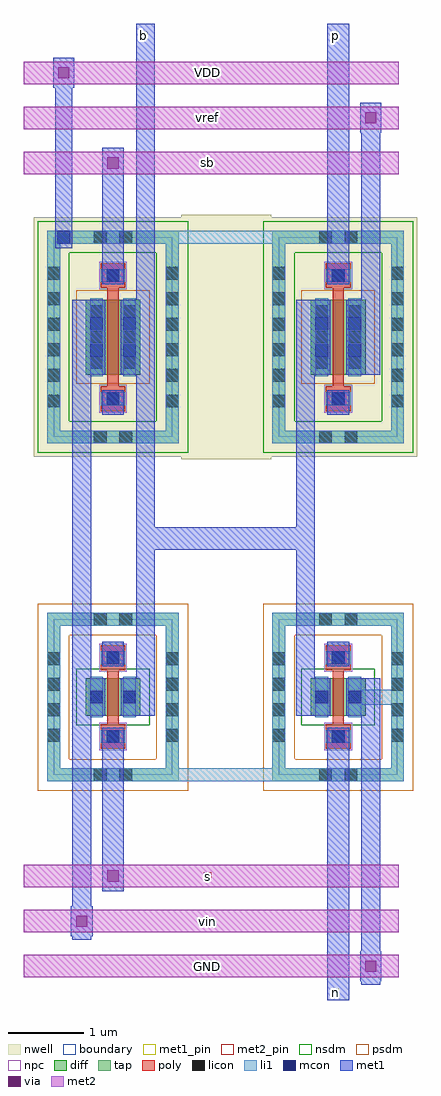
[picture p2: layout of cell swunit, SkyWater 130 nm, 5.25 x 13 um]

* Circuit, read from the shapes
.subckt swunit GND VDD b n p s sb vin vref
XM1 b s vin GND sky130_fd_pr__nfet_01v8 w=0.5 l=0.15
XM2 GND n b GND sky130_fd_pr__nfet_01v8 w=0.5 l=0.15
XM3 b sb vin VDD sky130_fd_pr__pfet_01v8 w=1 l=0.15
XM4 vref p b VDD sky130_fd_pr__pfet_01v8 w=1 l=0.15
.ends

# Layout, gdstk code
import gdstk
lib = gdstk.Library(unit=1e-6, precision=1e-09)
def R(c, l, rs):  # rectangles x0, y0, x1, y1
    for r in rs: c.add(gdstk.rectangle(r[:2], r[2:], *l))
def A(c, l, x, y, w, h, nx, ny, dx, dy):  # array of equal rectangles
    R(c, l, [(x+i*dx, y+j*dy, x+i*dx+w, y+j*dy+h) for i in range(nx) for j in range(ny)])
nwell = (64, 20)
diff = (65, 20)
tap = (65, 44)
poly = (66, 20)
licon = (66, 44)
li1 = (67, 20)
mcon = (67, 44)
met1_pin = (68, 16)
met1 = (68, 20)
via = (68, 44)
met2_pin = (69, 16)
met2 = (69, 20)
nsdm = (93, 44)
psdm = (94, 20)
npc = (95, 20)
boundary = (235, 4)

sky130_fd_pr__pfet_01v8_ = lib.new_cell('sky130_fd_pr__pfet_01v8_7HN6Y2')
R(sky130_fd_pr__pfet_01v8_, nwell, [(-1.055,-1.595,1.055,1.595)])
R(sky130_fd_pr__pfet_01v8_, diff, [(-0.365,-0.5,0.365,0.5)])
R(sky130_fd_pr__pfet_01v8_, tap, [(-0.875,-1.415,0.875,-1.245), (-0.875,-1.245,-0.705,1.245), (0.705,-1.245,0.875,1.245), (-0.875,1.245,0.875,1.415)])
R(sky130_fd_pr__pfet_01v8_, poly, [(-0.165,-0.985,0.165,-0.655), (-0.075,-0.655,0.075,0.655), (-0.165,0.655,0.165,0.985)])
A(sky130_fd_pr__pfet_01v8_, licon, -0.875, -0.935, 0.17, 0.17, 1, 6, 0, 0.34)
A(sky130_fd_pr__pfet_01v8_, licon, 0.705, -0.935, 0.17, 0.17, 1, 6, 0, 0.34)
A(sky130_fd_pr__pfet_01v8_, licon, -0.305, -0.425, 0.17, 0.17, 1, 3, 0, 0.34)
A(sky130_fd_pr__pfet_01v8_, licon, 0.135, -0.425, 0.17, 0.17, 1, 3, 0, 0.34)
R(sky130_fd_pr__pfet_01v8_, licon, [(-0.255,-1.415,-0.085,-1.245), (0.085,-1.415,0.255,-1.245), (-0.085,-0.905,0.085,-0.735), (-0.085,0.735,0.085,0.905), (-0.255,1.245,-0.085,1.415), (0.085,1.245,0.255,1.415)])
R(sky130_fd_pr__pfet_01v8_, li1, [(-0.875,-1.415,0.875,-1.245), (-0.875,-1.245,-0.705,1.245), (0.705,-1.245,0.875,1.245), (-0.165,-0.905,0.165,-0.735), (-0.305,-0.52,-0.135,0.52), (0.135,-0.52,0.305,0.52), (-0.165,0.735,0.165,0.905), (-0.875,1.245,0.875,1.415)])
R(sky130_fd_pr__pfet_01v8_, mcon, [(-0.085,-0.905,0.085,-0.735), (-0.305,-0.265,-0.135,-0.095), (0.135,-0.265,0.305,-0.095), (-0.305,0.095,-0.135,0.265), (0.135,0.095,0.305,0.265), (-0.085,0.735,0.085,0.905)])
R(sky130_fd_pr__pfet_01v8_, met1, [(-0.145,-0.935,0.145,-0.705), (-0.335,-0.5,-0.105,0.5), (0.105,-0.5,0.335,0.5), (-0.145,0.705,0.145,0.935)])
R(sky130_fd_pr__pfet_01v8_, nsdm, [(-1,-1.54,1,-1.12), (-1,-1.12,-0.58,1.12), (0.58,-1.12,1,1.12), (-1,1.12,1,1.54)])
R(sky130_fd_pr__pfet_01v8_, psdm, [(-0.49,-0.625,0.49,0.625)])
R(sky130_fd_pr__pfet_01v8_, npc, [(-0.185,-1.005,0.185,-0.635), (-0.185,0.635,0.185,1.005)])
R(sky130_fd_pr__pfet_01v8_, boundary, [(-0.79,-1.33,0.79,1.33)])
sky130_fd_pr__pfet_01v8_.add(gdstk.Label('B', (0,-1.33), layer=67, texttype=5))
sky130_fd_pr__pfet_01v8_.add(gdstk.Label('D', (-0.22,0), layer=67, texttype=5))
sky130_fd_pr__pfet_01v8_.add(gdstk.Label('S', (0.22,0), layer=67, texttype=5))
sky130_fd_pr__pfet_01v8_.add(gdstk.Label('G', (0,0.82), layer=67, texttype=5))

sky130_fd_pr__nfet_01v8_ = lib.new_cell('sky130_fd_pr__nfet_01v8_PHAC7Z')
R(sky130_fd_pr__nfet_01v8_, diff, [(-0.365,-0.25,0.365,0.25)])
R(sky130_fd_pr__nfet_01v8_, tap, [(-0.875,-1.12,0.875,-0.95), (-0.875,-0.95,-0.705,0.95), (0.705,-0.95,0.875,0.95), (-0.875,0.95,0.875,1.12)])
R(sky130_fd_pr__nfet_01v8_, poly, [(-0.165,-0.69,0.165,-0.36), (-0.075,-0.36,0.075,0.36), (-0.165,0.36,0.165,0.69)])
A(sky130_fd_pr__nfet_01v8_, licon, -0.875, -0.595, 0.17, 0.17, 1, 4, 0, 0.34)
A(sky130_fd_pr__nfet_01v8_, licon, 0.705, -0.595, 0.17, 0.17, 1, 4, 0, 0.34)
R(sky130_fd_pr__nfet_01v8_, licon, [(-0.255,-1.12,-0.085,-0.95), (0.085,-1.12,0.255,-0.95), (-0.085,-0.61,0.085,-0.44), (-0.305,-0.085,-0.135,0.085), (0.135,-0.085,0.305,0.085), (-0.085,0.44,0.085,0.61), (-0.255,0.95,-0.085,1.12), (0.085,0.95,0.255,1.12)])
R(sky130_fd_pr__nfet_01v8_, li1, [(-0.875,-1.12,0.875,-0.95), (-0.875,-0.95,-0.705,0.95), (0.705,-0.95,0.875,0.95), (-0.165,-0.61,0.165,-0.44), (-0.305,-0.27,-0.135,0.27), (0.135,-0.27,0.305,0.27), (-0.165,0.44,0.165,0.61), (-0.875,0.95,0.875,1.12)])
R(sky130_fd_pr__nfet_01v8_, mcon, [(-0.085,-0.61,0.085,-0.44), (-0.305,-0.085,-0.135,0.085), (0.135,-0.085,0.305,0.085), (-0.085,0.44,0.085,0.61)])
R(sky130_fd_pr__nfet_01v8_, met1, [(-0.145,-0.64,0.145,-0.41), (-0.335,-0.25,-0.105,0.25), (0.105,-0.25,0.335,0.25), (-0.145,0.41,0.145,0.64)])
R(sky130_fd_pr__nfet_01v8_, nsdm, [(-0.49,-0.375,0.49,0.375)])
R(sky130_fd_pr__nfet_01v8_, psdm, [(-1,-1.245,1,-0.825), (-1,-0.825,-0.58,0.825), (0.58,-0.825,1,0.825), (-1,0.825,1,1.245)])
R(sky130_fd_pr__nfet_01v8_, npc, [(-0.185,-0.71,0.185,-0.34), (-0.185,0.34,0.185,0.71)])
R(sky130_fd_pr__nfet_01v8_, boundary, [(-0.79,-1.035,0.79,1.035)])
sky130_fd_pr__nfet_01v8_.add(gdstk.Label('B', (0,-1.035), layer=67, texttype=5))
sky130_fd_pr__nfet_01v8_.add(gdstk.Label('D', (-0.22,0), layer=67, texttype=5))
sky130_fd_pr__nfet_01v8_.add(gdstk.Label('S', (0.22,0), layer=67, texttype=5))
sky130_fd_pr__nfet_01v8_.add(gdstk.Label('G', (0,0.525), layer=67, texttype=5))

swunit = lib.new_cell('swunit')
R(swunit, nwell, [(1.7,4.2,2.9,7.46)])
R(swunit, li1, [(1.665,-0.085,2.915,0.085), (3.925,0.935,4.665,1.135), (0.05,7.075,0.22,7.245), (1.665,7.075,2.915,7.245)])
R(swunit, mcon, [(0.05,7.075,0.22,7.245)])
R(swunit, met1_pin, [(3.7,-2.95,3.8,-2.85), (1.15,9.8,1.25,9.9), (3.7,9.8,3.8,9.9)])
R(swunit, met1, [(3.645,-3,3.935,0.625), (4.1,-2.8,4.35,-2.75), (4.085,-2.75,4.365,-2.35), (4.1,-2.35,4.35,0.785), (0.25,-2.2,0.5,-2.15), (0.23,-2.15,0.52,-1.75), (0.25,-1.75,0.5,0.785), (0.645,-1.55,0.935,0.625), (0.25,0.785,0.685,1.285), (0.895,0.785,1.35,1.285), (3.23,0.785,3.685,1.285), (3.895,0.785,4.35,1.285), (0.25,1.285,0.5,5.33), (1.1,1.285,1.35,3), (3.23,1.285,3.48,3), (0.645,1.445,0.935,1.775), (3.645,1.445,3.935,1.775), (1.1,3,3.48,3.3), (1.1,3.3,1.35,5.33), (3.23,3.3,3.48,5.33), (0.645,4.795,0.935,5.125), (3.645,4.795,3.935,5.125), (0.25,5.33,0.685,6.33), (0.895,5.33,1.35,6.33), (3.23,5.33,3.685,6.33), (3.895,5.33,4.35,6.33), (1.1,6.33,1.35,10), (4.1,6.33,4.35,8.55), (0.645,6.535,0.935,8.35), (3.645,6.535,3.935,10), (0.02,7.015,0.25,9.15), (4.085,8.55,4.365,8.95), (-0.005,9.15,0.275,9.55)])
R(swunit, via, [(4.15,-2.625,4.3,-2.475), (0.3,-2.025,0.45,-1.875), (0.715,-1.425,0.865,-1.275), (0.715,8.075,0.865,8.225), (4.15,8.675,4.3,8.825), (0.06,9.275,0.21,9.425)])
A(swunit, met2_pin, 2, -2.6, 0.1, 0.1, 1, 3, 0, 0.6)
A(swunit, met2_pin, 2, 8.1, 0.1, 0.1, 1, 3, 0, 0.6)
A(swunit, met2, -0.4, -2.7, 5, 0.3, 1, 3, 0, 0.6)
A(swunit, met2, -0.4, 8, 5, 0.3, 1, 3, 0, 0.6)
swunit.add(gdstk.Reference(sky130_fd_pr__pfet_01v8_, (0.79,5.83)))
swunit.add(gdstk.Reference(sky130_fd_pr__nfet_01v8_, (0.79,1.035)))
swunit.add(gdstk.Reference(sky130_fd_pr__pfet_01v8_, (3.79,5.83)))
swunit.add(gdstk.Reference(sky130_fd_pr__nfet_01v8_, (3.79,1.035)))
swunit.add(gdstk.Label('b', (1.2,9.85), layer=68, texttype=5))
swunit.add(gdstk.Label('vin', (2.05,-1.95), layer=69, texttype=5))
swunit.add(gdstk.Label('vref', (2.05,8.75), layer=69, texttype=5))
swunit.add(gdstk.Label('p', (3.75,9.85), layer=68, texttype=5))
swunit.add(gdstk.Label('n', (3.75,-2.9), layer=68, texttype=5))
swunit.add(gdstk.Label('s', (2.05,-1.35), layer=69, texttype=5))
swunit.add(gdstk.Label('sb', (2.05,8.15), layer=69, texttype=5))
swunit.add(gdstk.Label('VDD', (2.05,9.35), layer=69, texttype=5))
swunit.add(gdstk.Label('GND', (2.05,-2.55), layer=69, texttype=5))

lib.write_gds('swunit.gds')
